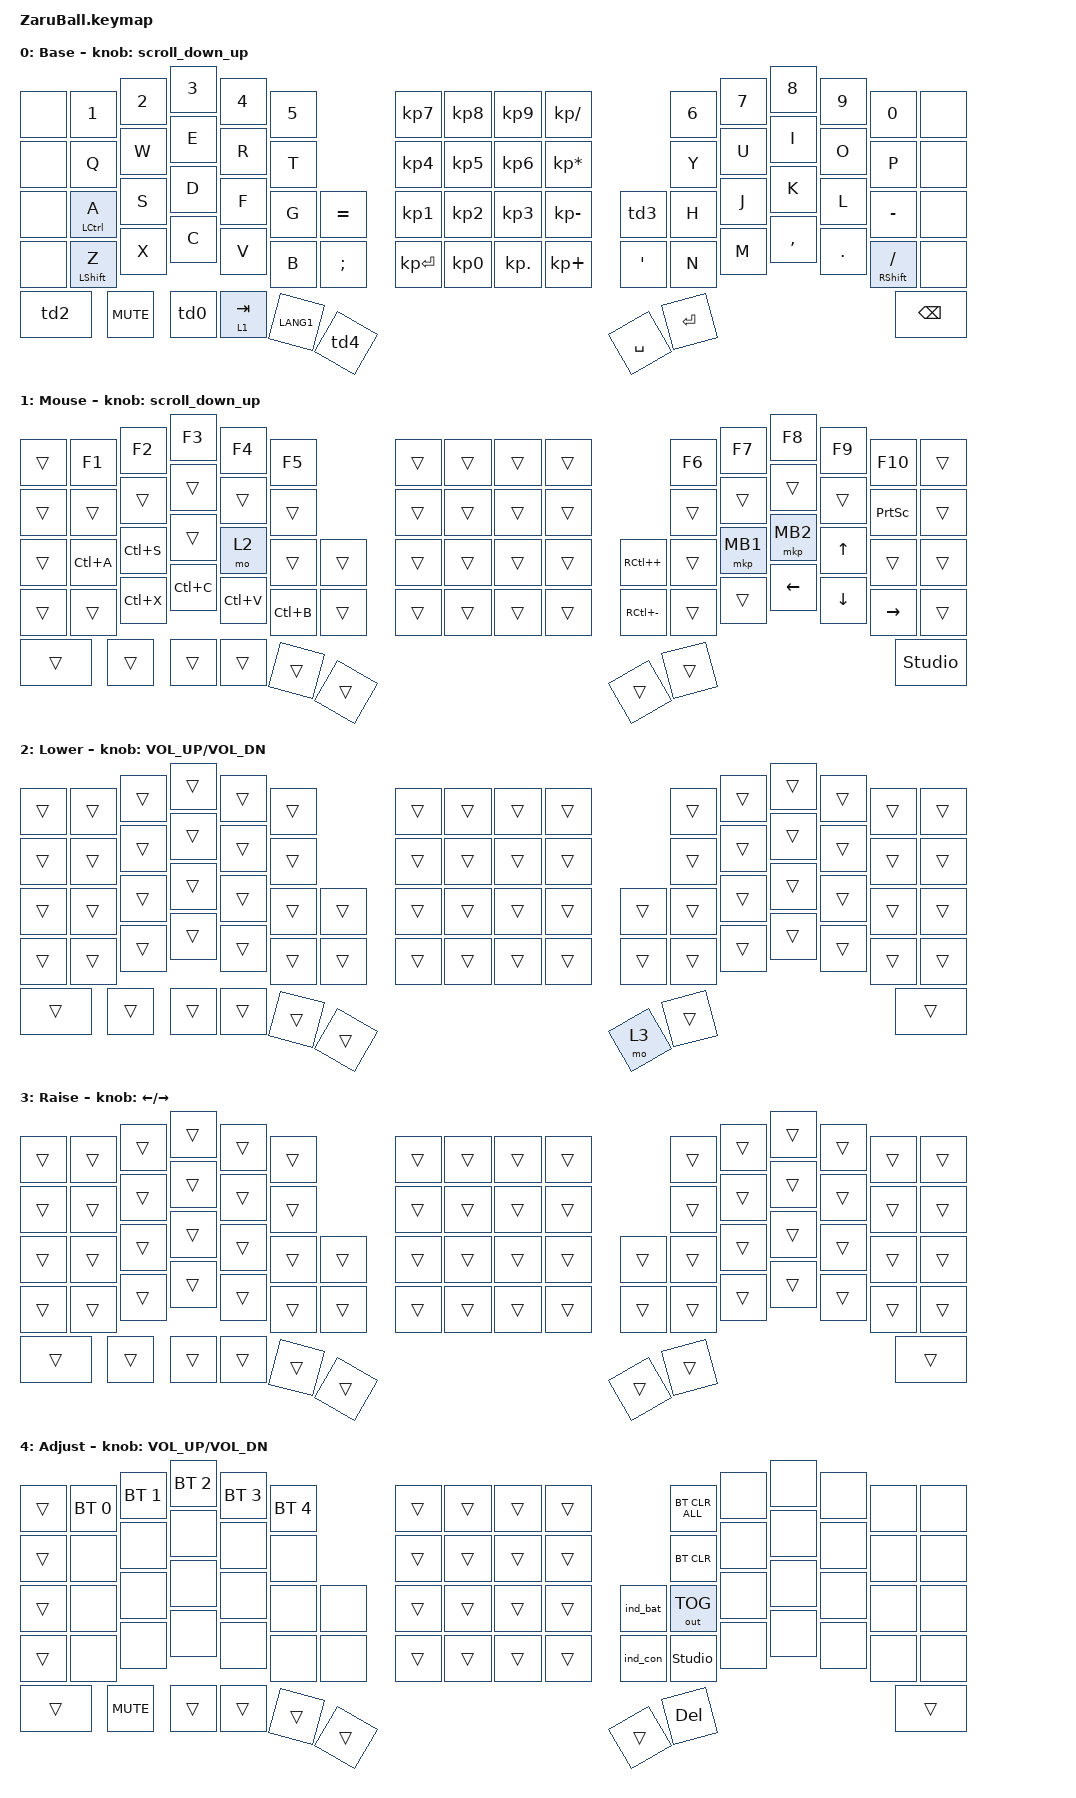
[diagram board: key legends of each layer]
// スクロール量の設定

#define ZMK_POINTING_DEFAULT_SCRL_VAL 100

#include <behaviors/rgbled_widget.dtsi>
#include <input/processors.dtsi>
#include <dt-bindings/zmk/input_transform.h>
#include <behaviors.dtsi>
#include <dt-bindings/zmk/bt.h>
#include <dt-bindings/zmk/keys.h>
#include <dt-bindings/zmk/outputs.h>
#include <dt-bindings/zmk/pointing.h>

#define BASE     0
#define MOUSE    1
#define LOWER    2
#define RAISE    3
#define ADJUST   4
#define SCROLL   2

&trackball_listener {
    input-processors = <
                         &zip_temp_layer MOUSE 500
    >;

    scroller {
        layers = <SCROLL>;
        input-processors = <
                            &zip_xy_transform (INPUT_TRANSFORM_Y_INVERT)
                            &zip_xy_scaler 1 20
                            &zip_xy_to_scroll_mapper
        >;
    };
};

/ {
    conditional_layers {
        compatible = "zmk,conditional-layers";

        tri_layer {
            if-layers = <2 3>;
            then-layer = <4>;
        };
    };
};

/ {
    behaviors {
        scroll_down_up: behavior_sensor_rotate_mouse_wheel_down_up {
            compatible = "zmk,behavior-sensor-rotate";
            #sensor-binding-cells = <0>;
            bindings = <&msc SCRL_DOWN>, <&msc SCRL_UP>;

            tap-ms = <20>; // スクロールのタップ時間
        };

        td0: tap_dance_0 {
            compatible = "zmk,behavior-tap-dance";
            #binding-cells = <0>;
            tapping-term-ms = <200>;
            bindings = <&kp ESCAPE>, <&kp RIGHT_ALT>;
        };

        td1: tap_dance_1 {
            compatible = "zmk,behavior-tap-dance";
            #binding-cells = <0>;
            tapping-term-ms = <200>;
            bindings = <&mt RCTL LANG1>, <&kp LANG2>;
        };

        // Customed Hold-Tap for SandS

        SandS: SandS {
            compatible = "zmk,behavior-hold-tap";
            #binding-cells = <2>;
            flavor = "tap-unless-interrupted";
            tapping-term-ms = <500>;
            quick-tap-ms = <500>;
            bindings = <&kp>, <&kp>;

            display-name = "SandS";
        };

        td2: tap_dance_2 {
            compatible = "zmk,behavior-tap-dance";
            #binding-cells = <0>;
            bindings = <&kp LEFT_GUI>, <&kp GRAVE>;
        };

        td3: tap_dance_3 {
            compatible = "zmk,behavior-tap-dance";
            #binding-cells = <0>;
            bindings = <&kp LEFT_BRACKET>, <&kp RIGHT_BRACKET>;
        };

        td4: tap_dance_4 {
            compatible = "zmk,behavior-tap-dance";
            #binding-cells = <0>;
            bindings = <&kp LANG2>, <&kp BACKSLASH>;
        };
    };
};

&sl { release-after-ms = <250>; };

&mt { flavor = "tap-preferred"; }; // time needed for double click (for mkp_exit_AML)
/ {
    macros {
        // When in AML, move to default layer when key (except mouse button) pressed

        to_layer_0: to_layer_0 {
            compatible = "zmk,behavior-macro-one-param";
            #binding-cells = <1>;
            bindings = <&tog MOUSE &macro_param_1to1 &kp MACRO_PLACEHOLDER>;
            label = "TO_layer_0";
        };

        // When LCLK pressed, exit AML (after 250ms cause by sticky layer

        mkp_exit_AML: mkp_exit_AML {
            compatible = "zmk,behavior-macro-one-param";
            #binding-cells = <1>;
            bindings =
                <&macro_press>,
                <&macro_param_1to1 &mkp MACRO_PLACEHOLDER>,
                <&macro_pause_for_release>,
                <&macro_release>,
                <&macro_param_1to1 &mkp MACRO_PLACEHOLDER>,
                <&macro_tap>,
                <&sl MOUSE>;

            label = "MKP_EXIT_AML";
        };
    };
};

/ {
    combos { compatible = "zmk,combos"; };

    keymap {
        compatible = "zmk,keymap";

        base_layer {
            display-name = "Base";
            sensor-bindings = <&scroll_down_up>;
            bindings = <
&none  &kp N1              &kp N2  &kp N3  &kp N4     &kp N5                  &kp KP_N7     &kp KP_N8  &kp KP_N9   &kp KP_DIVIDE                        &kp NUMBER_6  &kp N7  &kp N8     &kp N9   &kp N0                 &none
&none  &kp Q               &kp W   &kp E   &kp R      &kp T                   &kp KP_N4     &kp KP_N5  &kp KP_N6   &kp KP_MULTIPLY                      &kp Y         &kp U   &kp I      &kp O    &kp P                  &none
&none  &mt LEFT_CONTROL A  &kp S   &kp D   &kp F      &kp G      &kp EQUAL    &kp KP_N1     &kp KP_N2  &kp KP_N3   &kp KP_MINUS       &td3              &kp H         &kp J   &kp K      &kp L    &kp MINUS              &none
&none  &mt LEFT_SHIFT Z    &kp X   &kp C   &kp V      &kp B      &kp SEMI     &kp KP_ENTER  &kp KP_N0  &kp KP_DOT  &kp KP_PLUS        &kp SINGLE_QUOTE  &kp N         &kp M   &kp COMMA  &kp DOT  &mt RIGHT_SHIFT SLASH  &none
&td2   &kp C_MUTE                  &td0    &lt 1 TAB  &kp LANG1  &td4                                                                 &kp SPACE         &kp ENTER                                                        &kp BACKSPACE
            >;
        };

        mouse_layer {
            display-name = "Mouse";
            sensor-bindings = <&scroll_down_up>;
            bindings = <
&trans  &kp F1     &kp F2     &kp F3     &kp F4     &kp F5               &trans  &trans  &trans  &trans                   &kp F6  &kp F7    &kp F8    &kp F9    &kp F10          &trans
&trans  &trans     &trans     &trans     &trans     &trans               &trans  &trans  &trans  &trans                   &trans  &trans    &trans    &trans    &kp PRINTSCREEN  &trans
&trans  &kp LC(A)  &kp LC(S)  &trans     &mo 2      &trans     &trans    &trans  &trans  &trans  &trans    &kp RC(PLUS)   &trans  &mkp MB1  &mkp MB2  &kp UP    &trans           &trans
&trans  &trans     &kp LC(X)  &kp LC(C)  &kp LC(V)  &kp LC(B)  &trans    &trans  &trans  &trans  &trans    &kp RC(MINUS)  &trans  &trans    &kp LEFT  &kp DOWN  &kp RIGHT        &trans
&trans  &trans                &trans     &trans     &trans     &trans                                      &trans         &trans                                                 &studio_unlock
            >;
        };

        lower_layer {
            display-name = "Lower";
            sensor-bindings = <&inc_dec_kp C_VOL_UP C_VOL_DN>;
            bindings = <
&trans  &trans  &trans  &trans  &trans  &trans            &trans  &trans  &trans  &trans            &trans  &trans  &trans  &trans  &trans  &trans
&trans  &trans  &trans  &trans  &trans  &trans            &trans  &trans  &trans  &trans            &trans  &trans  &trans  &trans  &trans  &trans
&trans  &trans  &trans  &trans  &trans  &trans  &trans    &trans  &trans  &trans  &trans    &trans  &trans  &trans  &trans  &trans  &trans  &trans
&trans  &trans  &trans  &trans  &trans  &trans  &trans    &trans  &trans  &trans  &trans    &trans  &trans  &trans  &trans  &trans  &trans  &trans
&trans  &trans          &trans  &trans  &trans  &trans                                      &mo 3   &trans                                  &trans
            >;
        };

        raise_layer {
            display-name = "Raise";
            sensor-bindings = <&inc_dec_kp LEFT RIGHT>;
            bindings = <
&trans  &trans  &trans  &trans  &trans  &trans            &trans  &trans  &trans  &trans            &trans  &trans  &trans  &trans  &trans  &trans
&trans  &trans  &trans  &trans  &trans  &trans            &trans  &trans  &trans  &trans            &trans  &trans  &trans  &trans  &trans  &trans
&trans  &trans  &trans  &trans  &trans  &trans  &trans    &trans  &trans  &trans  &trans    &trans  &trans  &trans  &trans  &trans  &trans  &trans
&trans  &trans  &trans  &trans  &trans  &trans  &trans    &trans  &trans  &trans  &trans    &trans  &trans  &trans  &trans  &trans  &trans  &trans
&trans  &trans          &trans  &trans  &trans  &trans                                      &trans  &trans                                  &trans
            >;
        };

        adjust_layer {
            display-name = "Adjust";
            sensor-bindings = <&inc_dec_kp C_VOL_UP C_VOL_DN>;
            bindings = <
&trans  &bt BT_SEL 0  &bt BT_SEL 1  &bt BT_SEL 2  &bt BT_SEL 3  &bt BT_SEL 4            &trans  &trans  &trans  &trans              &bt BT_CLR_ALL  &none  &none  &none  &none  &none
&trans  &none         &none         &none         &none         &none                   &trans  &trans  &trans  &trans              &bt BT_CLR      &none  &none  &none  &none  &none
&trans  &none         &none         &none         &none         &none         &none     &trans  &trans  &trans  &trans    &ind_bat  &out OUT_TOG    &none  &none  &none  &none  &none
&trans  &none         &none         &none         &none         &none         &none     &trans  &trans  &trans  &trans    &ind_con  &studio_unlock  &none  &none  &none  &none  &none
&trans  &kp C_MUTE                  &trans        &trans        &trans        &trans                                      &trans    &kp DEL                                     &trans
            >;
        };

        // Extra layer can be added in ZMK STUDIO

        extra1 { status = "reserved"; };

        extra2 { status = "reserved"; };
    };
};
